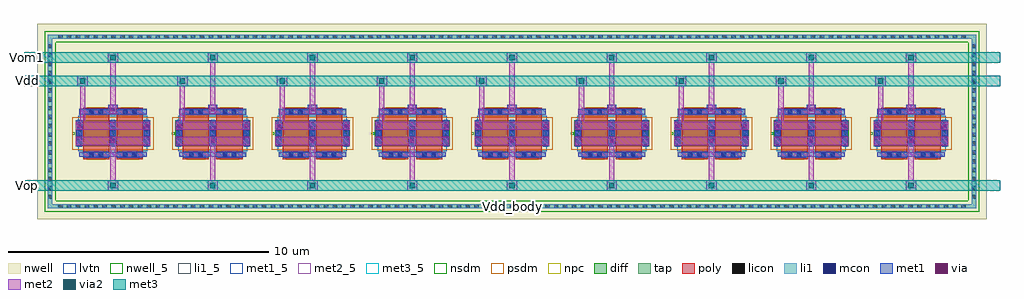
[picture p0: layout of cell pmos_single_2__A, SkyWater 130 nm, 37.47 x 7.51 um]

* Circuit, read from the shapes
.subckt pmos_single_2__A Vdd Vdd_body Vom1 Vop
XM1 Vop Vom1 Vdd Vdd_body sky130_fd_pr__pfet_01v8_lvt w=1 l=1 m=18
.ends

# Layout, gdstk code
import gdstk
lib = gdstk.Library(unit=1e-6, precision=1e-09)
def R(c, l, rs):  # rectangles x0, y0, x1, y1
    for r in rs: c.add(gdstk.rectangle(r[:2], r[2:], *l))
def A(c, l, x, y, w, h, nx, ny, dx, dy):  # array of equal rectangles
    R(c, l, [(x+i*dx, y+j*dy, x+i*dx+w, y+j*dy+h) for i in range(nx) for j in range(ny)])
nwell_5 = (64, 5)
nwell = (64, 20)
diff = (65, 20)
tap = (65, 44)
poly = (66, 20)
licon = (66, 44)
li1_5 = (67, 5)
li1 = (67, 20)
mcon = (67, 44)
met1_5 = (68, 5)
met1 = (68, 20)
via = (68, 44)
met2_5 = (69, 5)
met2 = (69, 20)
via2 = (69, 44)
met3_5 = (70, 5)
met3 = (70, 20)
nsdm = (93, 44)
psdm = (94, 20)
npc = (95, 20)
lvtn = (125, 44)

sky130_fd_pr__pfet_01v8_ = lib.new_cell('sky130_fd_pr__pfet_01v8_lvt_2HDQYB')
R(sky130_fd_pr__pfet_01v8_, nwell, [(-1.615,-1,1.615,1)])
R(sky130_fd_pr__pfet_01v8_, diff, [(-1.435,-0.5,1.435,0.5)])
R(sky130_fd_pr__pfet_01v8_, poly, [(-1.145,-0.985,-0.145,0.985), (0.145,-0.985,1.145,0.985)])
A(sky130_fd_pr__pfet_01v8_, licon, -1.375, -0.425, 0.17, 0.17, 3, 3, 1.29, 0.34)
R(sky130_fd_pr__pfet_01v8_, licon, [(-0.9,-0.905,-0.73,-0.735), (-0.56,-0.905,-0.39,-0.735), (0.39,-0.905,0.56,-0.735), (0.73,-0.905,0.9,-0.735), (-0.9,0.735,-0.73,0.905), (-0.56,0.735,-0.39,0.905), (0.39,0.735,0.56,0.905), (0.73,0.735,0.9,0.905)])
A(sky130_fd_pr__pfet_01v8_, li1, -1.375, -0.52, 0.17, 1.04, 3, 1, 1.29, 0)
R(sky130_fd_pr__pfet_01v8_, li1, [(-1.29,-0.905,1.29,-0.735), (-1.29,0.735,1.29,0.905)])
A(sky130_fd_pr__pfet_01v8_, mcon, -1.375, -0.265, 0.17, 0.17, 3, 2, 1.29, 0.36)
R(sky130_fd_pr__pfet_01v8_, mcon, [(-0.91,-0.905,-0.74,-0.735), (-0.55,-0.905,-0.38,-0.735), (0.38,-0.905,0.55,-0.735), (0.74,-0.905,0.91,-0.735), (-0.91,0.735,-0.74,0.905), (-0.55,0.735,-0.38,0.905), (0.38,0.735,0.55,0.905), (0.74,0.735,0.91,0.905)])
A(sky130_fd_pr__pfet_01v8_, met1, -1.405, -0.5, 0.23, 1, 3, 1, 1.29, 0)
R(sky130_fd_pr__pfet_01v8_, met1, [(-1.125,-0.935,-0.165,-0.905), (0.165,-0.935,1.125,-0.905), (-1.29,-0.905,1.29,-0.735), (-1.125,-0.735,-0.165,-0.705), (0.165,-0.735,1.125,-0.705), (-1.125,0.705,-0.165,0.735), (0.165,0.705,1.125,0.735), (-1.29,0.735,1.29,0.905), (-1.125,0.905,-0.165,0.935), (0.165,0.905,1.125,0.935)])
R(sky130_fd_pr__pfet_01v8_, psdm, [(-1.56,-0.625,1.56,0.625)])
R(sky130_fd_pr__pfet_01v8_, npc, [(-1,-1.005,-0.29,-0.635), (0.29,-1.005,1,-0.635), (-1,0.635,-0.29,1.005), (0.29,0.635,1,1.005)])
R(sky130_fd_pr__pfet_01v8_, lvtn, [(-1.325,-0.68,1.325,0.68)])
sky130_fd_pr__pfet_01v8_.add(gdstk.Label('D0', (-1.29,0), layer=67, texttype=5))
sky130_fd_pr__pfet_01v8_.add(gdstk.Label('G', (0.645,0.82), layer=67, texttype=5))
sky130_fd_pr__pfet_01v8_.add(gdstk.Label('G', (-0.645,0.82), layer=67, texttype=5))
sky130_fd_pr__pfet_01v8_.add(gdstk.Label('S1', (0,0), layer=67, texttype=5))

pfet_01v8_lvt_w2_l1_m9__ = lib.new_cell('pfet_01v8_lvt_W2_L1_m9__nf2_gboth_sdfull_outS_ng')
R(pfet_01v8_lvt_w2_l1_m9__, nwell_5, [(0.05,0.95,0.15,1.05)])
R(pfet_01v8_lvt_w2_l1_m9__, nwell, [(0.05,0.95,0.15,1.05)])
R(pfet_01v8_lvt_w2_l1_m9__, met1_5, [(0.325,1.705,2.905,1.935)])
R(pfet_01v8_lvt_w2_l1_m9__, met1, [(1.485,0.55,1.745,0.87), (0.195,1.13,0.455,1.45), (2.775,1.13,3.035,1.45), (0.325,1.705,2.905,1.935)])
R(pfet_01v8_lvt_w2_l1_m9__, via, [(1.54,0.635,1.69,0.785), (0.25,1.215,0.4,1.365), (2.83,1.215,2.98,1.365)])
R(pfet_01v8_lvt_w2_l1_m9__, met2_5, [(0.19,0.55,3.04,0.87), (0.19,1.13,3.04,1.45)])
R(pfet_01v8_lvt_w2_l1_m9__, met2, [(0.19,0.55,3.04,0.87), (0.19,1.13,3.04,1.45)])
pfet_01v8_lvt_w2_l1_m9__.add(gdstk.Reference(sky130_fd_pr__pfet_01v8_, (1.615,1)))
pfet_01v8_lvt_w2_l1_m9__.add(gdstk.Label('S', (1.615,1.29), layer=69, texttype=5))
pfet_01v8_lvt_w2_l1_m9__.add(gdstk.Label('D', (1.615,0.71), layer=69, texttype=5))
pfet_01v8_lvt_w2_l1_m9__.add(gdstk.Label('G', (1.615,1.82), layer=68, texttype=5))
pfet_01v8_lvt_w2_l1_m9__.add(gdstk.Label('B', (0.1,1), layer=64, texttype=5))

pmos_single_2__a = lib.new_cell('pmos_single_2__A')
R(pmos_single_2__a, nwell, [(-1.3,-2.3,35.17,5.21)])
R(pmos_single_2__a, tap, [(-0.885,-1.885,34.755,-1.715), (-0.885,-1.715,-0.715,4.625), (34.585,-1.715,34.755,4.625), (-0.885,4.625,34.755,4.795)])
A(pmos_single_2__a, licon, -0.49, -1.885, 0.17, 0.17, 103, 2, 0.34, 6.51)
A(pmos_single_2__a, licon, -0.885, -1.52, 0.17, 0.17, 1, 18, 0, 0.34)
A(pmos_single_2__a, licon, 34.585, -1.52, 0.17, 0.17, 1, 18, 0, 0.34)
R(pmos_single_2__a, li1_5, [(16.885,-1.85,16.985,-1.75)])
R(pmos_single_2__a, li1, [(-0.885,-1.885,34.755,-1.715), (-0.885,-1.715,-0.715,4.625), (34.585,-1.715,34.755,4.625), (-0.885,4.625,34.755,4.795)])
A(pmos_single_2__a, met1, 1.435, 1.735, 0.36, 0.36, 9, 1, 3.83, 0)
A(pmos_single_2__a, via, 1.54, 1.84, 0.15, 0.15, 9, 1, 3.83, 0)
A(pmos_single_2__a, met2, 1.415, -1.2, 0.4, 0.4, 9, 2, 3.83, 4.91)
A(pmos_single_2__a, met2, 1.515, -0.8, 0.2, 1.45, 9, 1, 3.83, 0)
A(pmos_single_2__a, met2, 0.35, 1.35, 0.2, 1.46, 9, 1, 3.83, 0)
A(pmos_single_2__a, met2, 1.485, 1.755, 0.26, 0.32, 9, 1, 3.83, 0)
A(pmos_single_2__a, met2, 1.515, 2.075, 0.2, 1.635, 9, 1, 3.83, 0)
A(pmos_single_2__a, met2, 0.25, 2.81, 0.4, 0.4, 9, 1, 3.83, 0)
A(pmos_single_2__a, via2, 1.515, -1.1, 0.2, 0.2, 9, 2, 3.83, 4.91)
A(pmos_single_2__a, via2, 0.35, 2.91, 0.2, 0.2, 9, 1, 3.83, 0)
R(pmos_single_2__a, met3_5, [(-1.7,-1.05,-1.6,-0.95), (-1.7,2.96,-1.6,3.06), (-1.7,3.86,-1.6,3.96)])
R(pmos_single_2__a, met3, [(-1.8,-1.2,35.67,-0.8), (-1.8,2.81,35.67,3.21), (-1.8,3.71,35.67,4.11)])
R(pmos_single_2__a, nsdm, [(-1.01,-2.01,34.88,-1.59), (-1.01,-1.59,-0.59,4.5), (34.46,-1.59,34.88,4.5), (-1.01,4.5,34.88,4.92)])
pmos_single_2__a.add(gdstk.Reference(pfet_01v8_lvt_w2_l1_m9__, (30.64,0)))
pmos_single_2__a.add(gdstk.Reference(pfet_01v8_lvt_w2_l1_m9__, (26.81,0)))
pmos_single_2__a.add(gdstk.Reference(pfet_01v8_lvt_w2_l1_m9__, (22.98,0)))
pmos_single_2__a.add(gdstk.Reference(pfet_01v8_lvt_w2_l1_m9__, (19.15,0)))
pmos_single_2__a.add(gdstk.Reference(pfet_01v8_lvt_w2_l1_m9__, (15.32,0)))
pmos_single_2__a.add(gdstk.Reference(pfet_01v8_lvt_w2_l1_m9__, (11.49,0)))
pmos_single_2__a.add(gdstk.Reference(pfet_01v8_lvt_w2_l1_m9__, (7.66,0)))
pmos_single_2__a.add(gdstk.Reference(pfet_01v8_lvt_w2_l1_m9__, (3.83,0)))
pmos_single_2__a.add(gdstk.Reference(pfet_01v8_lvt_w2_l1_m9__, (0,0)))
pmos_single_2__a.add(gdstk.Label('Vdd', (-1.65,3.01), layer=70, texttype=5))
pmos_single_2__a.add(gdstk.Label('Vom1', (-1.65,3.91), layer=70, texttype=5))
pmos_single_2__a.add(gdstk.Label('Vop', (-1.65,-1), layer=70, texttype=5))
pmos_single_2__a.add(gdstk.Label('Vdd_body', (16.935,-1.8), layer=67, texttype=5))

lib.write_gds('pmos_single_2__A.gds')
